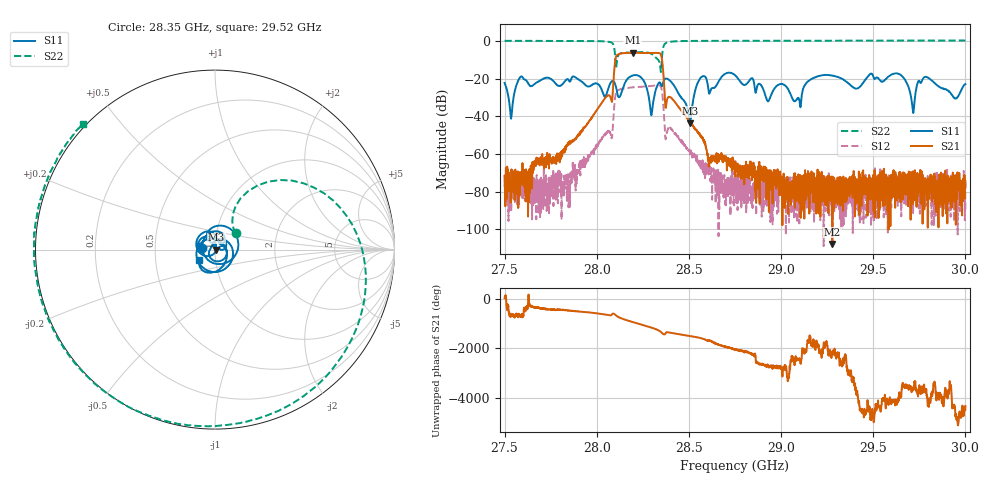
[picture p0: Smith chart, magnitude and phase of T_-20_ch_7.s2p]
!Keysight Technologies,N5234A,MY55441357,A.10.47.05
!Date: Sunday, November 19, 2017 16:06:01
!Correction: S11(Full 2 Port(1,2))
!S21(Full 2 Port(1,2))
!S12(Full 2 Port(1,2))
!S22(Full 2 Port(1,2))
!S2P File: Measurements: S11, S21, S12, S22:
# Hz S  dB  R 50
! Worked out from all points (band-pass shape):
!   2501 points, 27.5 GHz to 30 GHz, reference 50 ohm
!   highest |S21| = -6.24 dB at 28.2 GHz (marker M1); lowest = -107.8 dB at 29.28 GHz (marker M2)
!   |S21| within 3 dB of the highest: 28.1 GHz to 28.35 GHz (250.5 MHz wide, 0.887 % of centre)
!   lowest |S11| = -43.7 dB at 28.51 GHz (marker M3), VSWR 1.01, Z = 50.7 - j0.0802 ohm
!   |S11| at or under -10 dB: start of sweep to end of sweep
!   |S22| runs from -16.6 to 0.2 dB; largest |S21 - S12| = 0.52
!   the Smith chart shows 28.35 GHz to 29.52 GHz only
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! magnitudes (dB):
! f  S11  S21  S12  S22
! 27.5 GHz  -22.3  -71.7  -77.6  0.0
! 27.54 GHz  -41.3  -77.3  -77.3  0.0
! 27.59 GHz  -18.9  -71.9  -78.7  0.0
! 27.92 GHz  -21.5  -47.7  -63.4  0.0
! 28.08 GHz  -22.0  -30.8  -50.5  -0.7
! 28.11 GHz  -28.5  -7.3  -26.3  -8.7
! 28.2 GHz  -18.4  -6.2  -24.6  -6.4
! 28.3 GHz  -39.5  -6.5  -23.9  -6.8
! 28.33 GHz  -22.6  -6.4  -23.5  -10.1
! 28.38 GHz  -20.0  -32.4  -49.1  -0.9
! 28.51 GHz  -43.7  -42.8  -60.3  0.0
! 28.57 GHz  -19.2  -50.2  -64.9  0.0
! 28.75 GHz  -18.2  -72.0  -71.7  0.1
! 28.93 GHz  -32.0  -72.2  -76.3  0.1
! 29 GHz  -22.9  -80.7  -81.1  0.1
! 29.1 GHz  -31.4  -86.1  -96.9  0.1
! 29.17 GHz  -20.1  -73.4  -85.4  0.1
! 29.28 GHz  -18.4  -107.8  -79.2  0.1
! 29.58 GHz  -18.8  -79.4  -71.4  0.2
! 29.71 GHz  -37.3  -70.8  -78.5  0.2
! 29.78 GHz  -19.1  -72.8  -86.9  0.2
! 30 GHz  -22.9  -77.7  -90.4  0.2
